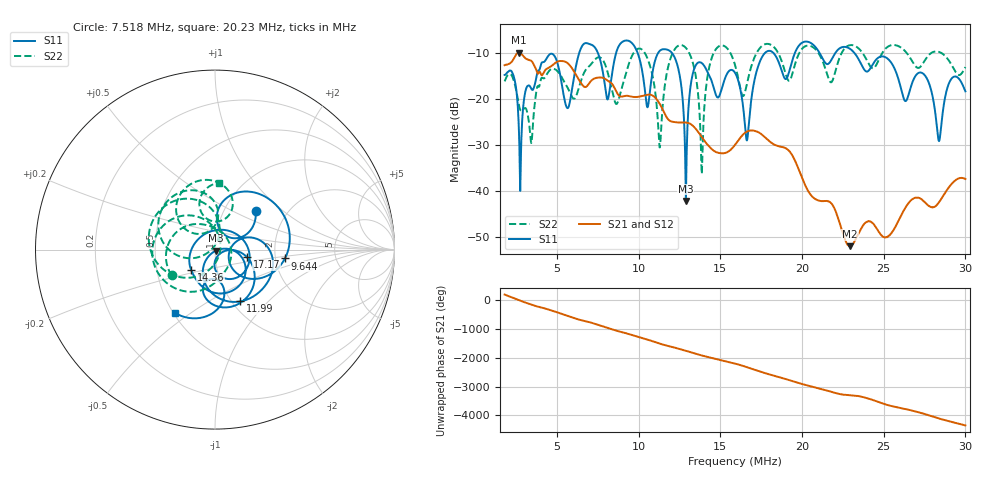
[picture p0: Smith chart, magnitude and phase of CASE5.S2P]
!Agilent Technologies,E5061B,MY49101568,A.02.00
!Date: Wed Mar 01 13:16:03 2023
!Data & Calibration Information:
!Freq	S11:SOLT2(OFF)	S21:SOLT2(OFF)	S12:SOLT2(OFF)	S22:SOLT2(OFF)
# Hz S dB R 50
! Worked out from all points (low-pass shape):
!   1155 points, 1.8 MHz to 30 MHz, reference 50 ohm
!   highest |S21| = -9.98 dB at 2.68 MHz (marker M1); lowest = -52.0 dB at 22.94 MHz (marker M2)
!   |S21| within 3 dB of the highest: start of sweep to 3.641 MHz; 4.634 MHz to 5.84 MHz (1.206 MHz wide, 23 % of centre)
!   lowest |S11| = -42.2 dB at 12.89 MHz (marker M3), VSWR 1.02, Z = 50.4 - j0.687 ohm
!   |S11| at or under -10 dB: start of sweep to 6.372 MHz; 12.03 MHz to 17.75 MHz (5.725 MHz wide, 38.4 % of centre); 23.19 MHz to end of sweep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
!   |S22| runs from -36.3 to -8.1 dB; largest |S21 - S12| = 0.004
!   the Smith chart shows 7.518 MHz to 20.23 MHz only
!   S11 on the Smith chart (normalised r, x): 7.518 MHz: 1.40, +0.66; 9.644 MHz: 2.26, -0.26; 11.99 MHz: 1.09, -0.70; 14.36 MHz: 0.75, -0.17; 17.17 MHz: 1.43, -0.12; 20.23 MHz: 0.51, -0.43
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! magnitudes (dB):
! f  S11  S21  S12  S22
! 1.8 MHz  -14.8  -12.7  -12.7  -16.2
! 2.68 MHz  -27.3  -10.0  -10.0  -21.4
! 6.516 MHz  -8.7  -16.8  -16.7  -15.7
! 7.518 MHz  -10.2  -15.4  -15.3  -11.0
! 8.105 MHz  -20.2  -16.1  -16.1  -14.2
! 8.642 MHz  -9.8  -18.5  -18.4  -21.1
! 9.644 MHz  -8.1  -19.6  -19.6  -10.4
! 10.55 MHz  -21.9  -19.1  -19.2  -11.3
! 11.21 MHz  -10.0  -20.6  -20.6  -26.5
! 11.99 MHz  -9.9  -24.9  -25.0  -10.9
! 12.89 MHz  -42.2  -25.2  -25.2  -9.0
! 13.85 MHz  -12.2  -28.2  -28.2  -35.0
! 14.36 MHz  -15.2  -30.5  -30.5  -12.6
! 15.9 MHz  -14.4  -30.0  -30.1  -12.7
! 16.63 MHz  -29.0  -27.1  -27.1  -16.7
! 17.17 MHz  -14.7  -27.0  -27.1  -10.4
! 20.23 MHz  -7.6  -39.0  -39.0  -8.6
! 20.62 MHz  -8.1  -41.2  -41.2  -8.7
! 22.94 MHz  -9.2  -52.0  -51.9  -8.4
! 25.31 MHz  -11.5  -49.7  -49.7  -8.6
! 28.39 MHz  -29.2  -42.5  -42.4  -9.8
! 30 MHz  -18.4  -37.4  -37.4  -13.1
